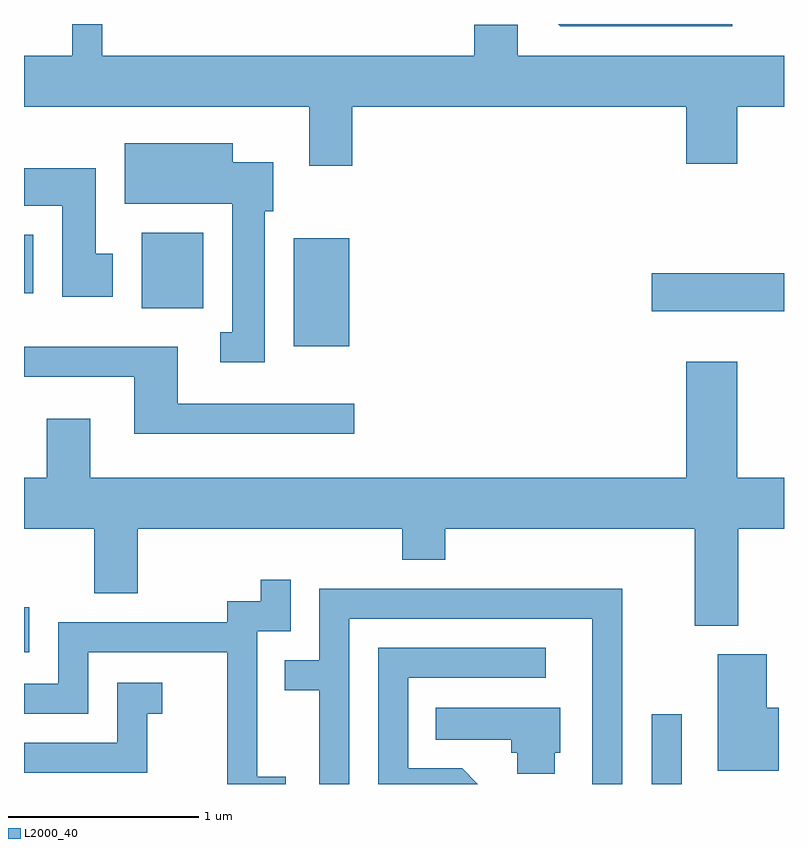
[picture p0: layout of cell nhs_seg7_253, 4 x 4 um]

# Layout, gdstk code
import gdstk
lib = gdstk.Library(unit=1e-6, precision=1e-09)
def R(c, l, rs):  # rectangles x0, y0, x1, y1
    for r in rs: c.add(gdstk.rectangle(r[:2], r[2:], *l))
def P(c, l, *ps):  # polygons
    for p in ps: c.add(gdstk.Polygon(p, *l))
L2000_40 = (2000, 40)

nhs_seg7_253 = lib.new_cell('nhs_seg7_253')
R(nhs_seg7_253, L2000_40, [(194.916,1766.252,195.074,1766.618), (191.611,1766.946,191.639,1767.183), (193.031,1768.556,193.324,1769.124), (194.916,1768.741,195.611,1768.939), (192.231,1768.756,192.554,1769.154), (191.611,1768.836,191.659,1769.144)])
P(nhs_seg7_253, L2000_40, [(193.339,1769.816),(195.096,1769.816),(195.096,1769.516),(195.364,1769.516),(195.364,1769.816),(195.611,1769.816),(195.611,1770.084),(194.209,1770.084),(194.209,1770.249),(193.981,1770.249),(193.981,1770.084),(192.024,1770.084),(192.024,1770.252),(191.866,1770.252),(191.866,1770.084),(191.611,1770.084),(191.611,1769.816),(193.111,1769.816),(193.111,1769.506),(193.339,1769.506)],
  [(195.339,1770.252),(194.423,1770.252),(194.434,1770.241),(195.339,1770.241)],
  [(192.879,1769.266),(192.924,1769.266),(192.924,1769.524),(192.709,1769.524),(192.709,1769.624),(192.141,1769.624),(192.141,1769.306),(192.706,1769.306),(192.706,1768.629),(192.643,1768.629),(192.643,1768.471),(192.879,1768.471)],
  [(192.079,1769.044),(191.989,1769.044),(191.989,1769.494),(191.611,1769.494),(191.611,1769.296),(191.811,1769.296),(191.811,1768.816),(192.079,1768.816)],
  [(193.348,1768.254),(192.419,1768.254),(192.419,1768.554),(191.611,1768.554),(191.611,1768.396),(192.191,1768.396),(192.191,1768.096),(193.348,1768.096)],
  [(195.369,1767.596),(195.611,1767.596),(195.611,1767.864),(195.364,1767.864),(195.364,1768.474),(195.096,1768.474),(195.096,1767.864),(191.959,1767.864),(191.959,1768.174),(191.731,1768.174),(191.731,1767.864),(191.611,1767.864),(191.611,1767.596),(191.981,1767.596),(191.981,1767.256),(192.209,1767.256),(192.209,1767.596),(193.601,1767.596),(193.601,1767.431),(193.829,1767.431),(193.829,1767.596),(195.141,1767.596),(195.141,1767.086),(195.369,1767.086)],
  [(192.989,1766.289),(192.839,1766.289),(192.839,1767.056),(193.014,1767.056),(193.014,1767.328),(192.856,1767.328),(192.856,1767.214),(192.681,1767.214),(192.681,1767.104),(191.791,1767.104),(191.791,1766.779),(191.611,1766.779),(191.611,1766.621),(191.949,1766.621),(191.949,1766.946),(192.681,1766.946),(192.681,1766.252),(192.989,1766.252)],
  [(193.324,1767.121),(194.601,1767.121),(194.601,1766.252),(194.759,1766.252),(194.759,1767.279),(193.166,1767.279),(193.166,1766.904),(192.983,1766.904),(192.983,1766.746),(193.166,1766.746),(193.166,1766.252),(193.324,1766.252)],
  [(193.917,1766.334),(193.634,1766.334),(193.634,1766.811),(194.358,1766.811),(194.358,1766.969),(193.476,1766.969),(193.476,1766.252),(193.999,1766.252)],
  [(195.584,1766.654),(195.519,1766.654),(195.519,1766.934),(195.261,1766.934),(195.261,1766.321),(195.584,1766.321)],
  [(192.259,1766.621),(192.338,1766.621),(192.338,1766.784),(192.101,1766.784),(192.101,1766.469),(191.611,1766.469),(191.611,1766.311),(192.259,1766.311)],
  [(194.404,1766.416),(194.434,1766.416),(194.434,1766.654),(193.778,1766.654),(193.778,1766.486),(194.176,1766.486),(194.176,1766.416),(194.206,1766.416),(194.206,1766.306),(194.404,1766.306)])

lib.write_gds('nhs_seg7_253.gds')
